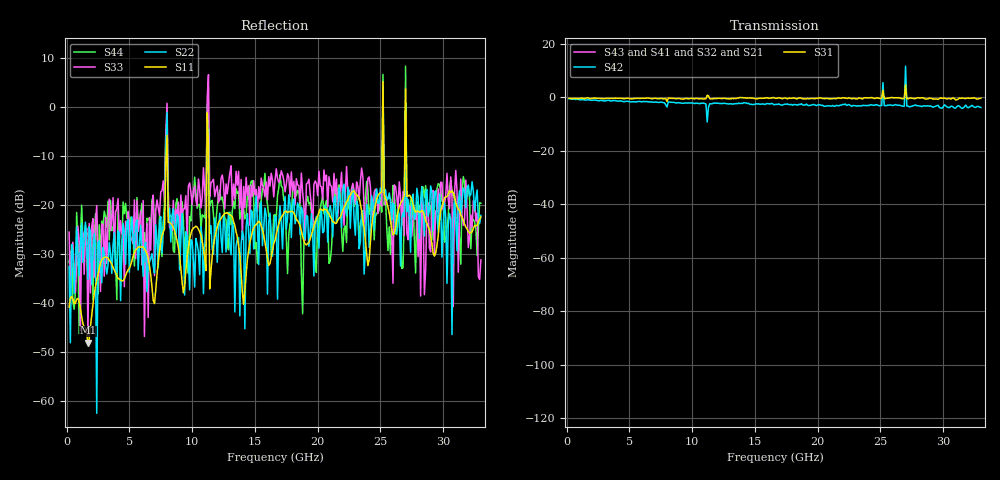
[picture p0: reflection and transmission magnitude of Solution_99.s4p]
# GHZ S RI R 50
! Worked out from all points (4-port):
!   329 points, 200 MHz to 33 GHz, reference 50 ohm
!   strongest paths, dB at 200 MHz, 8.4 GHz, 16.6 GHz, 24.8 GHz, 33 GHz:
!     S31: -0.4, -0.3, -0.3, -0.2, -0.3
!     S42: -0.5, -1.8, -2.6, -2.9, -3.7
!     S43: -, -, -, -, -
!     S41: -, -, -, -, -
!     S32: -, -, -, -, -
!     S21: -, -, -, -, -
!   lowest |S11| = -48.1 dB at 1.7 GHz (marker M1), VSWR 1.01, Z = 50 - j0.392 ohm
!   |S11| at or under -10 dB: start of sweep to 7.929 GHz; 11.31 GHz to 25.13 GHz (13.82 GHz wide, 75.9 % of centre); 27.06 GHz to end of sweep (the widest 3 of 5)
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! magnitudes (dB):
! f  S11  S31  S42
! 200 MHz  -40.8  -0.4  -0.5
! 1.7 GHz  -48.1  -0.1  -0.9
! 11.3 GHz  -7.6  0.7  -3.7
! 14.2 GHz  -37.2  -0.1  -2.0
! 25.2 GHz  5.1  2.7  5.6
! 25.8 GHz  -23.3  -0.1  -2.8
! 33 GHz  -22.5  -0.3  -3.7
